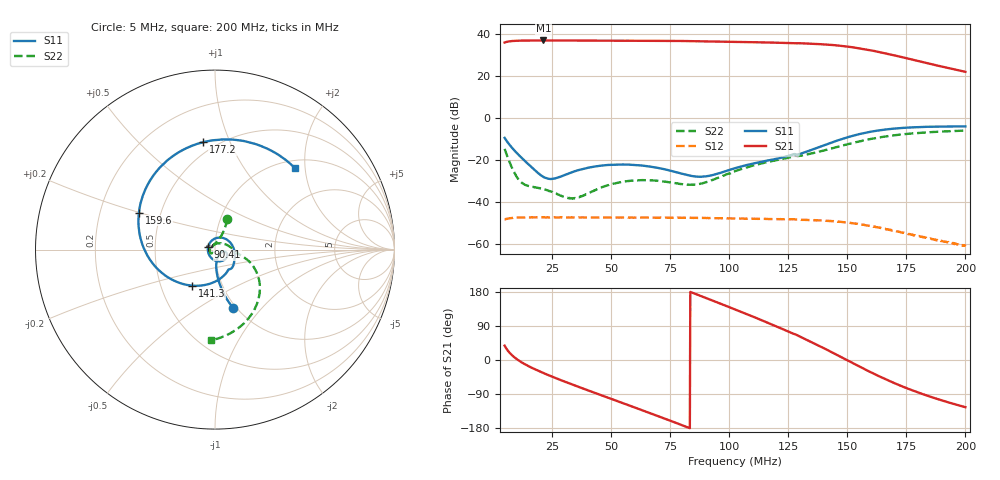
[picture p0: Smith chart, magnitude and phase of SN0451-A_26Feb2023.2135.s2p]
# Hz S DB R 50
! CMT, M5045, 22160017, 22.4.3/2
! Date: 2/26/2023 21:35:17
! Data: Format (Calibration Info)
! Freq	S11:dB/Ang(F2)	S21:dB/Ang(F2)	S12:dB/Ang(F2)	S22:dB/Ang(F2)
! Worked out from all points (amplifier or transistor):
!   1001 points, 5 MHz to 200 MHz, reference 50 ohm
!   highest |S21| = 37.1 dB at 21.38 MHz (marker M1)
!   |S21| within 3 dB of that: start of sweep to 150.6 MHz
!   unconditionally stable (mu >= 1): start of sweep to end of sweep
!   at 37.37 MHz: K = 1.79, MAG = 37.1 dB, |S12| = -47.4 dB
!   at 102.5 MHz: K = 1.98, MAG = 36.5 dB, |S12| = -47.9 dB
!   at 200 MHz: K = 20.11, MAG = 25.6 dB, |S12| = -61.2 dB
!   S11 on the Smith chart (normalised r, x): 5 MHz: 0.97, -0.71; 90.41 MHz: 0.92, +0.02; 141.3 MHz: 0.72, -0.31; 159.6 MHz: 0.38, +0.20; 177.2 MHz: 0.43, +0.80; 200 MHz: 1.16, +1.77
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5000000  -9.40 -72.8  36.15 37.9  -48.38 40.4  -14.67 68.3
7535000  -13.35 -81.0  36.79 16.3  -47.75 18.8  -22.23 66.3
1.0655e7  -17.22 -85.3  37.02 0.1  -47.48 3.1  -28.93 84.9
2.138e7  -28.02 -62.3  37.14 -34.3  -47.37 -30.8  -33.76 140.9
2.9375e7  -27.61 -18.2  37.13 -54.5  -47.39 -50.1  -37.37 165.4
3.7565e7  -24.41 -12.5  37.10 -73.9  -47.46 -68.4  -37.26 -148.7
4.5365e7  -22.75 -21.4  37.06 -91.8  -47.48 -85.0  -33.39 -130.4
5.336e7  -22.15 -36.3  37.04 -110.0  -47.54 -102.4  -30.74 -133.4
7.013e7  -23.82 -81.8  36.97 -148.5  -47.55 -138.4  -29.97 -165.4
8.0465e7  -26.66 -128.0  36.88 -172.9  -47.63 -161.1  -31.57 152.7
9.041e7  -27.76 161.7  36.74 163.1  -47.69 176.4  -30.54 92.1
1.025e8  -23.92 85.6  36.48 133.5  -47.87 148.0  -25.37 39.4
1.1108e8  -21.44 43.5  36.29 112.0  -48.07 127.7  -22.36 17.3
1.1927e8  -19.59 2.2  36.09 90.8  -48.17 107.8  -20.25 3.2
1.29215e8  -17.37 -57.0  35.82 64.2  -48.51 81.2  -18.08 -10.2
1.35065e8  -15.07 -88.5  35.58 46.6  -48.67 65.1  -16.80 -12.2
1.41305e8  -12.47 -122.4  35.17 27.3  -49.02 46.6  -15.08 -15.8
1.4969e8  -9.27 -163.5  34.27 0.4  -49.80 20.5  -12.59 -24.0
1.59635e8  -6.53 154.1  32.50 -31.3  -51.47 -10.5  -10.00 -37.9
1.6763e8  -5.23 125.2  30.61 -54.7  -53.29 -34.0  -8.50 -50.7
1.77185e8  -4.40 96.2  28.08 -79.2  -55.65 -57.1  -7.33 -65.2
2e8  -3.93 45.5  22.15 -124.5  -61.16 -101.8  -5.93 -92.5
